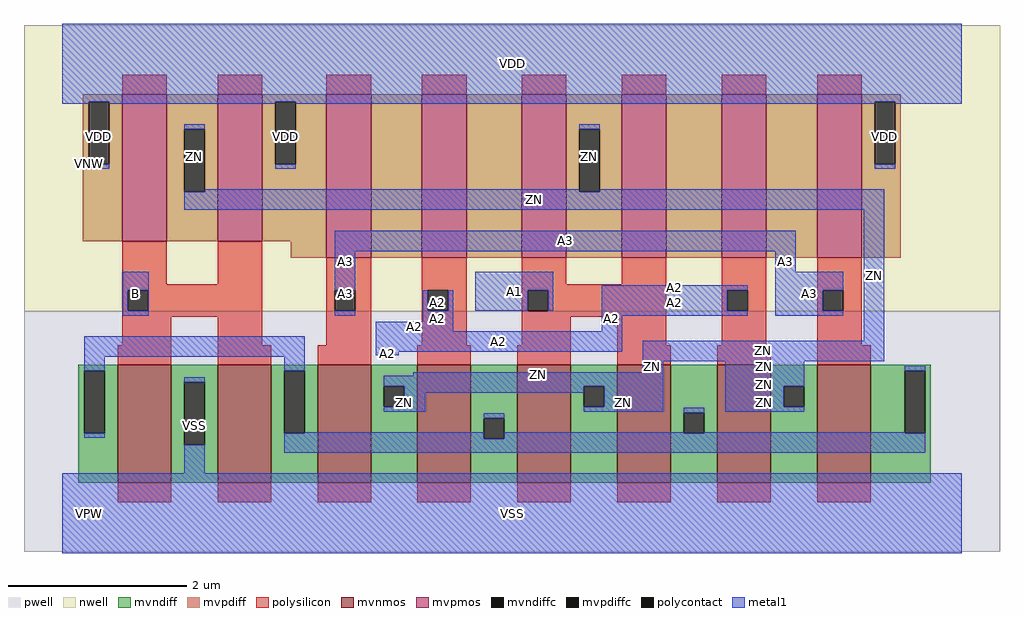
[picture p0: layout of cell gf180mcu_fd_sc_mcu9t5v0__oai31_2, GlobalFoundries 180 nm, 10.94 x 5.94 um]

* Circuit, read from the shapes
.subckt gf180mcu_fd_sc_mcu9t5v0__oai31_2 A1 A2 A3 B ZN VDD VNW VPW VSS
XM1 VSS B n1 VPW nfet_06v0 w=1.32u l=0.6u m=2
XM2 ZN A3 n1 VPW nfet_06v0 w=1.32u l=0.6u m=2
XM3 n1 A2 ZN VPW nfet_06v0 w=1.32u l=0.6u m=2
XM4 ZN A1 n1 VPW nfet_06v0 w=1.32u l=0.6u m=2
XM5 ZN B VDD VNW pfet_06v0 w=1.645u l=0.5u m=2
XM6 n2 A3 VDD VNW pfet_06v0 w=1.83u l=0.5u
XM7 n3 A2 n2 VNW pfet_06v0 w=1.83u l=0.5u
XM8 ZN A1 n3 VNW pfet_06v0 w=1.83u l=0.5u
XM9 n4 A1 ZN VNW pfet_06v0 w=1.83u l=0.5u
XM10 n5 A2 n4 VNW pfet_06v0 w=1.83u l=0.5u
XM11 VDD A3 n5 VNW pfet_06v0 w=1.83u l=0.5u
.ends

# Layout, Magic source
magic
tech gf180mcuD
magscale 1 10
<< nwell >>
rect -86 453 2102 1094
<< pwell >>
rect -86 -86 2102 453
<< mvnmos >>
rect 124 69 244 333
rect 348 69 468 333
rect 572 69 692 333
rect 796 69 916 333
rect 1020 69 1140 333
rect 1244 69 1364 333
rect 1468 69 1588 333
rect 1692 69 1812 333
<< mvpmos >>
rect 134 610 234 939
rect 348 610 448 939
rect 592 573 692 939
rect 806 573 906 939
rect 1030 573 1130 939
rect 1254 573 1354 939
rect 1478 573 1578 939
rect 1692 573 1792 939
<< mvndiff >>
rect 36 320 124 333
rect 36 180 49 320
rect 95 180 124 320
rect 36 69 124 180
rect 244 294 348 333
rect 244 154 273 294
rect 319 154 348 294
rect 244 69 348 154
rect 468 320 572 333
rect 468 180 497 320
rect 543 180 572 320
rect 468 69 572 180
rect 692 285 796 333
rect 692 239 721 285
rect 767 239 796 285
rect 692 69 796 239
rect 916 213 1020 333
rect 916 167 945 213
rect 991 167 1020 213
rect 916 69 1020 167
rect 1140 285 1244 333
rect 1140 239 1169 285
rect 1215 239 1244 285
rect 1140 69 1244 239
rect 1364 226 1468 333
rect 1364 180 1393 226
rect 1439 180 1468 226
rect 1364 69 1468 180
rect 1588 285 1692 333
rect 1588 239 1617 285
rect 1663 239 1692 285
rect 1588 69 1692 239
rect 1812 320 1947 333
rect 1812 180 1888 320
rect 1934 180 1947 320
rect 1812 69 1947 180
<< mvpdiff >>
rect 46 923 134 939
rect 46 783 59 923
rect 105 783 134 923
rect 46 610 134 783
rect 234 861 348 939
rect 234 721 273 861
rect 319 721 348 861
rect 234 610 348 721
rect 448 923 592 939
rect 448 783 477 923
rect 523 783 592 923
rect 448 610 592 783
rect 512 573 592 610
rect 692 573 806 939
rect 906 573 1030 939
rect 1130 861 1254 939
rect 1130 721 1159 861
rect 1205 721 1254 861
rect 1130 573 1254 721
rect 1354 573 1478 939
rect 1578 573 1692 939
rect 1792 923 1880 939
rect 1792 783 1821 923
rect 1867 783 1880 923
rect 1792 573 1880 783
<< mvndiffc >>
rect 49 180 95 320
rect 273 154 319 294
rect 497 180 543 320
rect 721 239 767 285
rect 945 167 991 213
rect 1169 239 1215 285
rect 1393 180 1439 226
rect 1617 239 1663 285
rect 1888 180 1934 320
<< mvpdiffc >>
rect 59 783 105 923
rect 273 721 319 861
rect 477 783 523 923
rect 1159 721 1205 861
rect 1821 783 1867 923
<< polysilicon >>
rect 134 939 234 983
rect 348 939 448 983
rect 592 939 692 983
rect 806 939 906 983
rect 1030 939 1130 983
rect 1254 939 1354 983
rect 1478 939 1578 983
rect 1692 939 1792 983
rect 134 513 234 610
rect 348 513 448 610
rect 134 500 448 513
rect 134 454 147 500
rect 193 454 448 500
rect 134 441 448 454
rect 134 377 244 441
rect 124 333 244 377
rect 348 377 448 441
rect 592 500 692 573
rect 592 454 611 500
rect 657 454 692 500
rect 592 377 692 454
rect 806 500 906 573
rect 806 454 819 500
rect 865 454 906 500
rect 806 377 906 454
rect 1030 513 1130 573
rect 1254 513 1354 573
rect 1030 500 1354 513
rect 1030 454 1043 500
rect 1089 454 1354 500
rect 1030 441 1354 454
rect 1030 377 1140 441
rect 348 333 468 377
rect 572 333 692 377
rect 796 333 916 377
rect 1020 333 1140 377
rect 1244 377 1354 441
rect 1478 500 1578 573
rect 1478 454 1491 500
rect 1537 454 1578 500
rect 1478 377 1578 454
rect 1692 500 1792 573
rect 1692 454 1705 500
rect 1751 454 1792 500
rect 1692 377 1792 454
rect 1244 333 1364 377
rect 1468 333 1588 377
rect 1692 333 1812 377
rect 124 25 244 69
rect 348 25 468 69
rect 572 25 692 69
rect 796 25 916 69
rect 1020 25 1140 69
rect 1244 25 1364 69
rect 1468 25 1588 69
rect 1692 25 1812 69
<< polycontact >>
rect 147 454 193 500
rect 611 454 657 500
rect 819 454 865 500
rect 1043 454 1089 500
rect 1491 454 1537 500
rect 1705 454 1751 500
<< metal1 >>
rect 0 923 2016 1098
rect 0 918 59 923
rect 105 918 477 923
rect 59 772 105 783
rect 273 861 319 872
rect 523 918 1821 923
rect 477 772 523 783
rect 1159 861 1205 872
rect 319 721 1159 726
rect 1867 918 2016 923
rect 1821 772 1867 783
rect 1205 721 1843 726
rect 273 680 1843 721
rect 611 588 1644 634
rect 135 500 194 542
rect 135 454 147 500
rect 193 454 194 500
rect 135 443 194 454
rect 611 500 657 588
rect 1598 542 1644 588
rect 926 500 1100 542
rect 611 443 657 454
rect 808 454 819 500
rect 865 454 876 500
rect 926 454 1043 500
rect 1089 454 1100 500
rect 1209 500 1537 511
rect 1209 454 1491 500
rect 808 430 876 454
rect 702 408 876 430
rect 1209 443 1537 454
rect 1598 500 1751 542
rect 1598 454 1705 500
rect 1598 443 1751 454
rect 1209 408 1255 443
rect 49 351 543 397
rect 702 362 1255 408
rect 1797 387 1843 680
rect 702 354 754 362
rect 49 320 95 351
rect 497 320 543 351
rect 49 169 95 180
rect 273 294 319 305
rect 273 90 319 154
rect 1301 341 1843 387
rect 1301 316 1347 341
rect 787 308 1347 316
rect 721 285 1347 308
rect 767 270 1169 285
rect 767 239 813 270
rect 721 228 813 239
rect 1215 239 1347 285
rect 1169 228 1347 239
rect 1486 285 1663 341
rect 1486 239 1617 285
rect 1393 226 1439 237
rect 1486 228 1663 239
rect 1888 320 1934 331
rect 945 213 991 224
rect 543 180 945 182
rect 497 167 945 180
rect 991 180 1393 182
rect 1439 180 1888 182
rect 991 167 1934 180
rect 497 136 1934 167
rect 0 -90 2016 90
<< labels >>
flabel metal1 s 926 454 1100 542 0 FreeSans 200 0 0 0 A1
port 1 nsew default input
flabel metal1 s 1209 500 1537 511 0 FreeSans 200 0 0 0 A2
port 2 nsew default input
flabel metal1 s 611 588 1644 634 0 FreeSans 200 0 0 0 A3
port 3 nsew default input
flabel metal1 s 135 443 194 542 0 FreeSans 200 0 0 0 B
port 4 nsew default input
flabel metal1 s 0 918 2016 1098 0 FreeSans 200 0 0 0 VDD
port 6 nsew power bidirectional abutment
flabel metal1 s 273 90 319 305 0 FreeSans 200 0 0 0 VSS
port 9 nsew ground bidirectional abutment
flabel metal1 s 1159 726 1205 872 0 FreeSans 200 0 0 0 ZN
port 5 nsew default output
flabel nwell s 10 734 110 834 0 FreeSans 400 0 0 0 VNW
port 7 nsew power bidirectional
flabel pwell s 10 -50 110 50 0 FreeSans 400 0 0 0 VPW
port 8 nsew ground bidirectional
rlabel metal1 s 1209 443 1537 500 1 A2
port 2 nsew default input
rlabel metal1 s 808 443 876 500 1 A2
port 2 nsew default input
rlabel metal1 s 1209 430 1255 443 1 A2
port 2 nsew default input
rlabel metal1 s 808 430 876 443 1 A2
port 2 nsew default input
rlabel metal1 s 1209 408 1255 430 1 A2
port 2 nsew default input
rlabel metal1 s 702 408 876 430 1 A2
port 2 nsew default input
rlabel metal1 s 702 362 1255 408 1 A2
port 2 nsew default input
rlabel metal1 s 702 354 754 362 1 A2
port 2 nsew default input
rlabel metal1 s 1598 542 1644 588 1 A3
port 3 nsew default input
rlabel metal1 s 611 542 657 588 1 A3
port 3 nsew default input
rlabel metal1 s 1598 443 1751 542 1 A3
port 3 nsew default input
rlabel metal1 s 611 443 657 542 1 A3
port 3 nsew default input
rlabel metal1 s 273 726 319 872 1 ZN
port 5 nsew default output
rlabel metal1 s 273 680 1843 726 1 ZN
port 5 nsew default output
rlabel metal1 s 1797 387 1843 680 1 ZN
port 5 nsew default output
rlabel metal1 s 1301 341 1843 387 1 ZN
port 5 nsew default output
rlabel metal1 s 1486 316 1663 341 1 ZN
port 5 nsew default output
rlabel metal1 s 1301 316 1347 341 1 ZN
port 5 nsew default output
rlabel metal1 s 1486 308 1663 316 1 ZN
port 5 nsew default output
rlabel metal1 s 787 308 1347 316 1 ZN
port 5 nsew default output
rlabel metal1 s 1486 270 1663 308 1 ZN
port 5 nsew default output
rlabel metal1 s 721 270 1347 308 1 ZN
port 5 nsew default output
rlabel metal1 s 1486 228 1663 270 1 ZN
port 5 nsew default output
rlabel metal1 s 1169 228 1347 270 1 ZN
port 5 nsew default output
rlabel metal1 s 721 228 813 270 1 ZN
port 5 nsew default output
rlabel metal1 s 1821 772 1867 918 1 VDD
port 6 nsew power bidirectional abutment
rlabel metal1 s 477 772 523 918 1 VDD
port 6 nsew power bidirectional abutment
rlabel metal1 s 59 772 105 918 1 VDD
port 6 nsew power bidirectional abutment
rlabel metal1 s 0 -90 2016 90 1 VSS
port 9 nsew ground bidirectional abutment
<< properties >>
string FIXED_BBOX 0 0 2016 1008
string GDS_END 153906
string GDS_FILE $PDKPATH/libs.ref/gf180mcu_fd_sc_mcu9t5v0/gds/gf180mcu_fd_sc_mcu9t5v0.gds
string GDS_START 148802
string LEFclass core
string LEFsite GF018hv5v_green_sc9
string LEFsymmetry X Y
<< end >>
